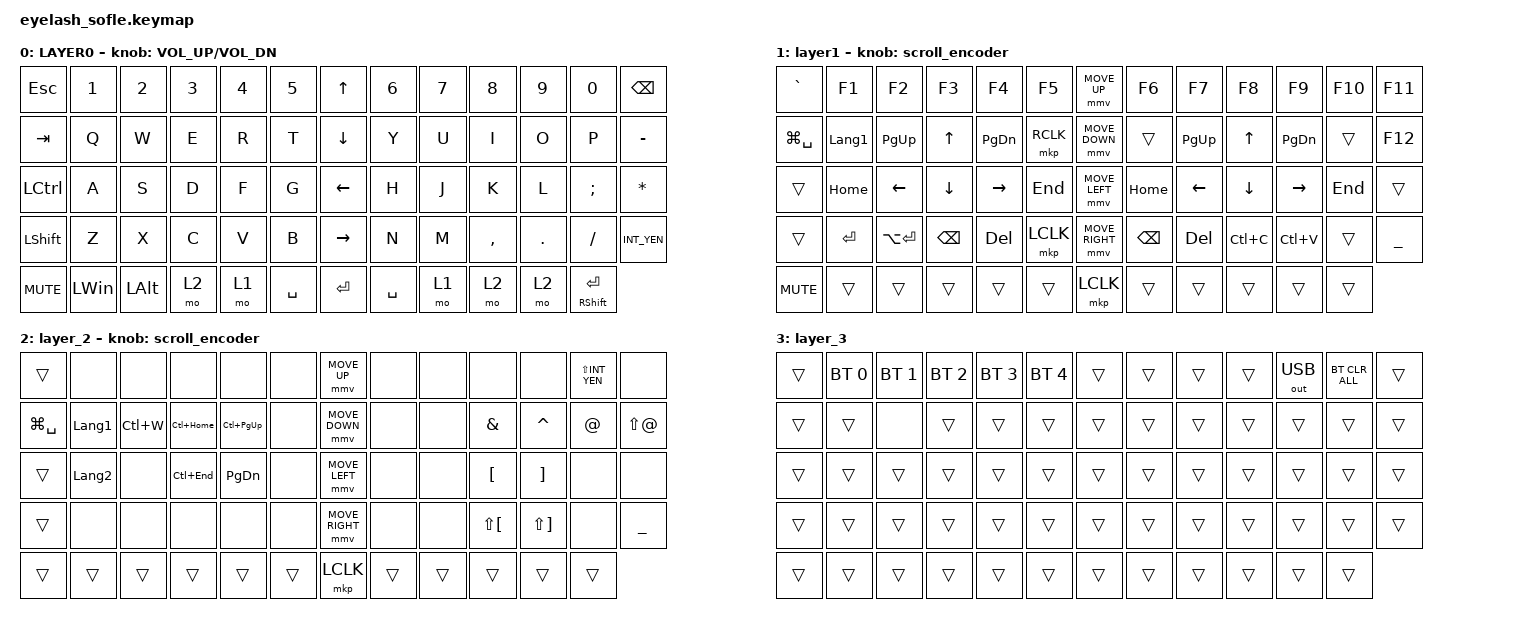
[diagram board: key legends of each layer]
#define ZMK_POINTING_DEFAULT_MOVE_VAL 1200  // 600
#define ZMK_POINTING_DEFAULT_SCRL_VAL 25   // 10

#include <input/processors.dtsi>
#include <zephyr/dt-bindings/input/input-event-codes.h>
#include <behaviors.dtsi>
#include <dt-bindings/zmk/bt.h>
#include <dt-bindings/zmk/keys.h>
#include <dt-bindings/zmk/outputs.h>
#include <dt-bindings/zmk/pointing.h>

&mmv_input_listener { input-processors = <&zip_xy_scaler 2 1>; };

&msc_input_listener { input-processors = <&zip_scroll_scaler 2 1>; };

&msc {
    acceleration-exponent = <1>;      // 0
    time-to-max-speed-ms = <100>;       // 300
    delay-ms = <0>;                   // 0
};

&mmv {
    time-to-max-speed-ms = <500>;
    acceleration-exponent = <1>;
    trigger-period-ms = <16>;
};

/ {
    scroll_encoder: scroll_encoder {
        compatible = "zmk,behavior-sensor-rotate";
        #sensor-binding-cells = <0>;
        bindings = <&msc SCRL_DOWN>, <&msc SCRL_UP>;

        tap-ms = <100>;
    };

    combos {
        compatible = "zmk,combos";

        ToL3 {
            bindings = <&mo 3>;
            key-positions = <55 56>;
        };
    };

    behaviors {
    };

    keymap {
        compatible = "zmk,keymap";

        layer0 {
            bindings = <
&kp ESC           &kp N1        &kp N2        &kp N3  &kp N4  &kp N5       &kp UP_ARROW     &kp N6     &kp N7  &kp N8     &kp N9   &kp N0                 &kp BACKSPACE
&kp TAB           &kp Q         &kp W         &kp E   &kp R   &kp T        &kp DOWN_ARROW   &kp Y      &kp U   &kp I      &kp O    &kp P                  &kp MINUS
&kp LEFT_CONTROL  &kp A         &kp S         &kp D   &kp F   &kp G        &kp LEFT_ARROW   &kp H      &kp J   &kp K      &kp L    &kp SEMI               &kp ASTERISK
&kp LSHFT         &kp Z         &kp X         &kp C   &kp V   &kp B        &kp RIGHT_ARROW  &kp N      &kp M   &kp COMMA  &kp DOT  &kp FSLH               &kp INT_YEN
&kp C_MUTE        &kp LEFT_WIN  &kp LEFT_ALT  &mo 2   &mo 1   &kp SPACE    &kp ENTER        &kp SPACE  &mo 1   &mo 2      &mo 2    &mt RIGHT_SHIFT ENTER
            >;

            sensor-bindings = <&inc_dec_kp C_VOLUME_UP C_VOL_DN>;
            display-name = "LAYER0";
        };

        layer_1 {
            bindings = <
&kp GRAVE      &kp F1          &kp F2         &kp F3          &kp F4           &kp F5       &mmv MOVE_UP     &kp F6         &kp F7       &kp F8     &kp F9         &kp F10  &kp F11
&kp LG(SPACE)  &kp LANGUAGE_1  &kp PAGE_UP    &kp UP_ARROW    &kp PAGE_DOWN    &mkp RCLK    &mmv MOVE_DOWN   &trans         &kp PAGE_UP  &kp UP     &kp PAGE_DOWN  &trans   &kp F12
&trans         &kp HOME        &kp LEFT       &kp DOWN_ARROW  &kp RIGHT_ARROW  &kp END      &mmv MOVE_LEFT   &kp HOME       &kp LEFT     &kp DOWN   &kp RIGHT      &kp END  &trans
&trans         &kp ENTER       &kp LA(ENTER)  &kp BACKSPACE   &kp DELETE       &mkp LCLK    &mmv MOVE_RIGHT  &kp BACKSPACE  &kp DELETE   &kp LC(C)  &kp LC(V)      &trans   &kp UNDERSCORE
&kp C_MUTE     &trans          &trans         &trans          &trans           &trans       &mkp LCLK        &trans         &trans       &trans     &trans         &trans
            >;

            display-name = "layer1";
            sensor-bindings = <&scroll_encoder>;
        };

        layer_2 {
            bindings = <
&trans         &none           &none      &none         &none            &none     &mmv MOVE_UP     &none   &none   &none                 &none                  &kp LS(INT_YEN)  &none
&kp LG(SPACE)  &kp LANGUAGE_1  &kp LC(W)  &kp LC(HOME)  &kp LC(PAGE_UP)  &none     &mmv MOVE_DOWN   &none   &none   &kp AMPERSAND         &kp CARET              &kp AT_SIGN      &kp LS(AT_SIGN)
&trans         &kp LANGUAGE_2  &none      &kp LC(END)   &kp PAGE_DOWN    &none     &mmv MOVE_LEFT   &none   &none   &kp LEFT_BRACKET      &kp RIGHT_BRACKET      &none            &none
&trans         &none           &none      &none         &none            &none     &mmv MOVE_RIGHT  &none   &none   &kp LS(LEFT_BRACKET)  &kp LS(RIGHT_BRACKET)  &none            &kp UNDER
&trans         &trans          &trans     &trans        &trans           &trans    &mkp LCLK        &trans  &trans  &trans                &trans                 &trans
            >;

            sensor-bindings = <&scroll_encoder>;
        };

        layer_3 {
            bindings = <
&trans  &bt BT_SEL 0  &bt BT_SEL 1  &bt BT_SEL 2  &bt BT_SEL 3  &bt BT_SEL 4    &trans  &trans  &trans  &trans  &out OUT_USB  &bt BT_CLR_ALL  &trans
&trans  &trans        &none         &trans        &trans        &trans          &trans  &trans  &trans  &trans  &trans        &trans          &trans
&trans  &trans        &trans        &trans        &trans        &trans          &trans  &trans  &trans  &trans  &trans        &trans          &trans
&trans  &trans        &trans        &trans        &trans        &trans          &trans  &trans  &trans  &trans  &trans        &trans          &trans
&trans  &trans        &trans        &trans        &trans        &trans          &trans  &trans  &trans  &trans  &trans        &trans
            >;
        };
    };
};
